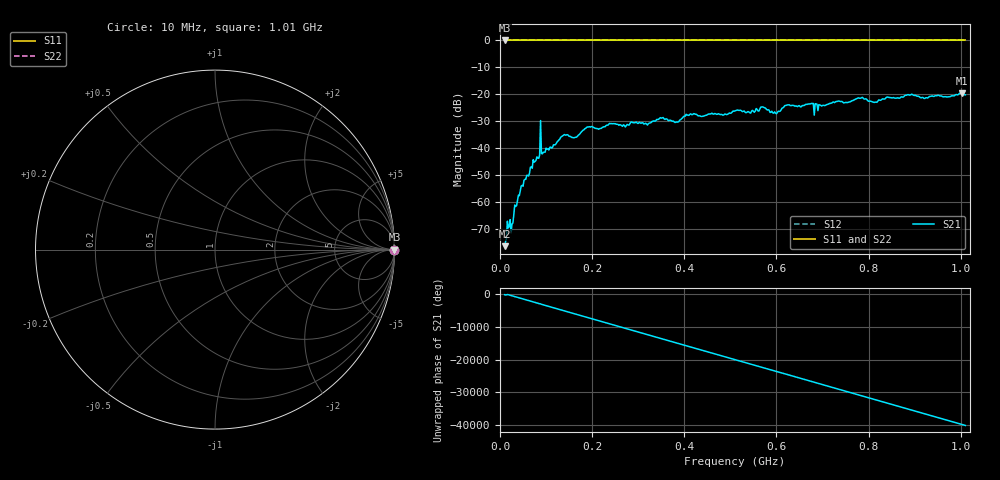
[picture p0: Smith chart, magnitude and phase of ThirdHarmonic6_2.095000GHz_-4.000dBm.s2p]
! 8/17/2025 1:04:04 AM
! C:\ANRITSUVNA\TEMP\TEMP.S2P
! CHANNEL.1
! TR.MEASUREMENT
! RAW.DATA
! RF.CORRECTION.OFF
! AVERAGING.OFF
! IF.BANDWIDTH: 5KHZ
! SWEEPTYPE:  FREQ.SWEEP(Linear)
! Reference Plane Port Info
! PORT:  PORT1  PORT2
! DISTANCE:  0  m  0  m
! TIME:  0  s  0  s
! PHASE.OFFSET:  0  deg.  0  deg.
! LOSS:  0  dB  0  dB
! REF.LOSS:  0  dB  0  dB
! REF.FREQ:  0  Hz  0  Hz
! Power Info
! POWER:  -20  dBm  -20  dBm
! EFF.POWER:  -20  dBm  -20  dBm
! SOURCE.ATTEN:  0  dB  0  dB
! TEST.ATTEN:  0  dB  0  dB
# GHZ S RI R 50.0
! FREQ.GHZ  S11RE  S11IM  S21RE  S21IM  S12RE  S12IM  S22RE  S22IM
!; PortSelection: Port_12
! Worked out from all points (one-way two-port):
!   501 points, 10 MHz to 1.01 GHz, reference 50 ohm
!   highest |S21| = -19.61 dB at 1.002 GHz (marker M1); lowest = -76.5 dB at 10 MHz (marker M2)
!   lowest |S11| = 0.0 dB at 10 MHz (marker M3)
!   |S11| at or under -10 dB: nowhere
!   |S22| runs from 0.0 to 0.0 dB; largest |S21 - S12| = 1.1
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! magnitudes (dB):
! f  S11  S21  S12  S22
! 10 MHz  0.0  -76.5  0.0  0.0
! 18 MHz  0.0  -69.7  0.0  0.0
! 26 MHz  0.0  -68.2  0.0  0.0
! 44 MHz  0.0  -55.9  0.0  0.0
! 82 MHz  0.0  -43.7  0.0  0.0
! 84 MHz  0.0  -43.8  0.0  0.0
! 92 MHz  0.0  -42.1  0.0  0.0
! 94 MHz  0.0  -41.6  0.0  0.0
! 136 MHz  0.0  -35.5  0.0  0.0
! 162 MHz  0.0  -36.1  0.0  0.0
! 178 MHz  0.0  -33.8  0.0  0.0
! 344 MHz  0.0  -29.4  0.0  0.0
! 384 MHz  0.0  -30.3  0.0  0.0
! 408 MHz  0.0  -27.8  0.0  0.0
! 510 MHz  0.0  -26.2  0.0  0.0
! 570 MHz  0.0  -24.7  0.0  0.0
! 596 MHz  0.0  -26.6  0.0  0.0
! 622 MHz  0.0  -24.0  0.0  0.0
! 678 MHz  0.0  -23.4  0.0  0.0
! 844 MHz  0.0  -21.2  0.0  0.0
! 1.002 GHz  0.0  -19.6  0.0  0.0
! 1.01 GHz  0.0  -20.2  0.0  0.0
